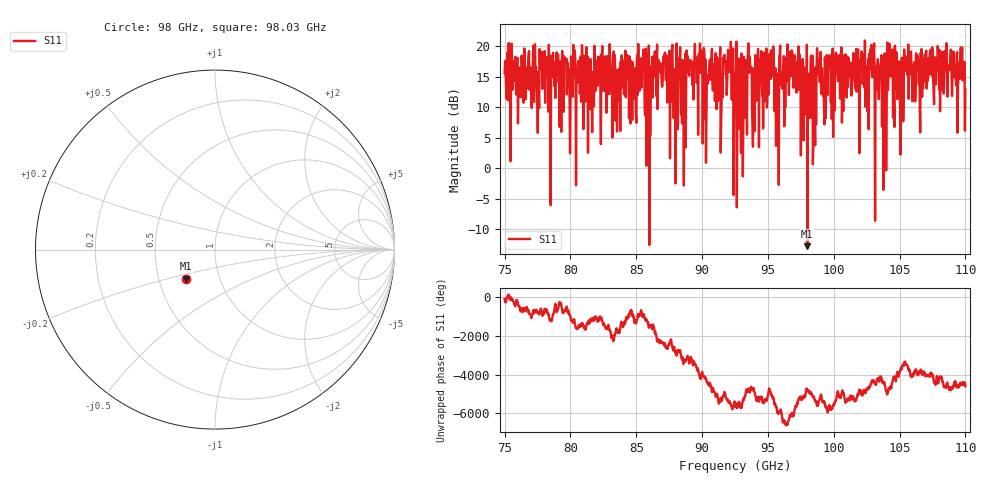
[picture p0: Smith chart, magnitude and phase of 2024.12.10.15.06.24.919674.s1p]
! Created with skrf (http://scikit-rf.org).
# GHz S RI R 50.0
!freq ReS11 ImS11
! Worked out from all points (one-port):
!   1001 points, 75 GHz to 110 GHz, reference 50 ohm
!   lowest |S11| = -12.8 dB at 98 GHz (marker M1), VSWR 1.60, Z = 34.3 - j11.7 ohm
!   |S11| at or under -10 dB: 85.98723 GHz to 85.99309 GHz (5.854 MHz wide, 0.00681 % of centre); 97.99206 GHz to 97.99873 GHz (6.676 MHz wide, 0.00681 % of centre)
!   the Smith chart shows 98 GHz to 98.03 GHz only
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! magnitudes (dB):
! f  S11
! 75 GHz  15.5
! 79.38 GHz  19.2
! 83.75 GHz  15.0
! 85.95 GHz  20.1
! 86.41 GHz  19.1
! 88.12 GHz  16.6
! 88.58 GHz  13.5
! 89 GHz  15.5
! 90.22 GHz  8.0
! 92.19 GHz  20.7
! 92.5 GHz  10.7
! 93.44 GHz  17.2
! 93.97 GHz  6.0
! 95.27 GHz  14.9
! 95.65 GHz  12.3
! 96.88 GHz  18.8
! 98 GHz  -12.8
! 98.2 GHz  8.2
! 98.52 GHz  12.8
! 98.87 GHz  17.7
! 99.22 GHz  12.6
! 101.2 GHz  15.4
! 102.5 GHz  16.0
! 102.9 GHz  15.1
! 103.8 GHz  18.5
! 104.2 GHz  15.1
! 105.6 GHz  16.7
! 110 GHz  12.9
